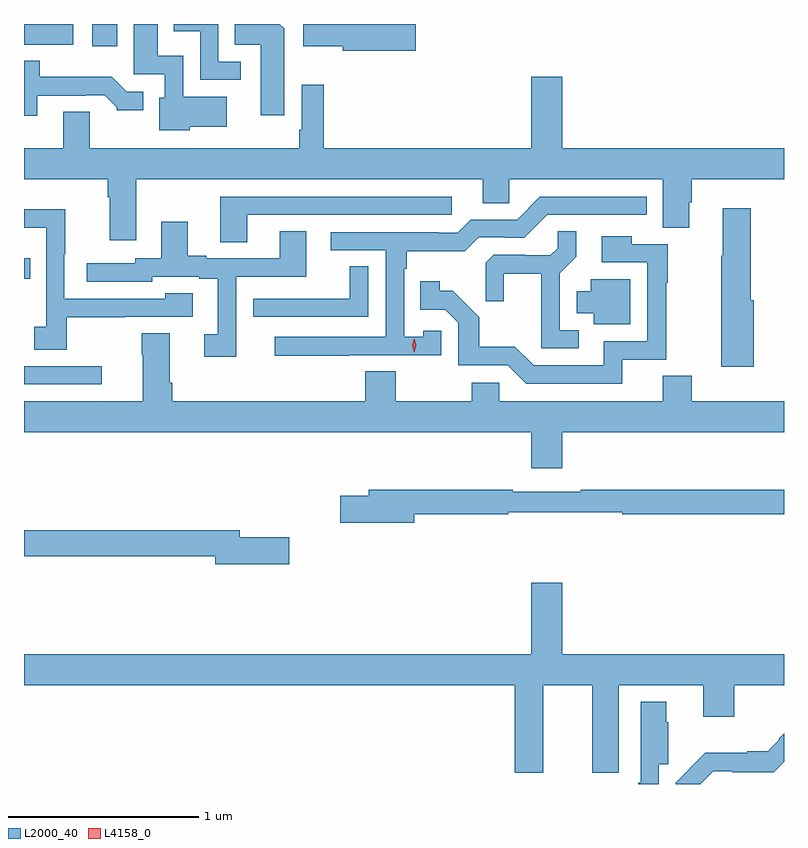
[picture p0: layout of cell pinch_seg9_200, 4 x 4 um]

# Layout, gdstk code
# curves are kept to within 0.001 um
import gdstk
lib = gdstk.Library(unit=1e-6, precision=1e-09)
def R(c, l, rs):  # rectangles x0, y0, x1, y1
    for r in rs: c.add(gdstk.rectangle(r[:2], r[2:], *l))
def P(c, l, *ps):  # polygons
    for p in ps: c.add(gdstk.Polygon(p, *l))
L2000_40 = (2000, 40)
L4158_0 = (4158, 0)

pinch_seg9_200 = lib.new_cell('pinch_seg9_200')
R(pinch_seg9_200, L2000_40, [(521.979,1245.957,522.388,1246.053), (521.979,1246.512,522.011,1246.621), (522.338,1247.736,522.469,1247.853), (521.979,1247.744,522.238,1247.853)])
P(pinch_seg9_200, L2000_40, [(523.12,1247.655),(523.002,1247.655),(523.002,1247.853),(522.767,1247.853),(522.767,1247.816),(522.906,1247.816),(522.906,1247.559),(523.12,1247.559)],
  [(524.041,1247.853),(523.448,1247.853),(523.448,1247.735),(523.656,1247.735),(523.656,1247.711),(524.041,1247.711)],
  [(523.348,1247.83),(523.325,1247.853),(523.087,1247.853),(523.087,1247.744),(523.226,1247.744),(523.226,1247.373),(523.348,1247.373)],
  [(522.852,1247.312),(523.045,1247.312),(523.045,1247.47),(522.816,1247.47),(522.816,1247.686),(522.682,1247.686),(522.682,1247.853),(522.557,1247.853),(522.557,1247.589),(522.72,1247.589),(522.72,1247.466),(522.692,1247.466),(522.692,1247.294),(522.852,1247.294)],
  [(522.049,1247.475),(522.305,1247.475),(522.305,1247.478),(522.404,1247.478),(522.468,1247.414),(522.468,1247.399),(522.607,1247.399),(522.607,1247.496),(522.519,1247.496),(522.441,1247.575),(522.062,1247.575),(522.062,1247.659),(521.979,1247.659),(521.979,1247.37),(522.049,1247.37)],
  [(522.571,1247.036),(524.393,1247.036),(524.393,1246.909),(524.532,1246.909),(524.532,1247.036),(525.341,1247.036),(525.341,1246.78),(525.481,1246.78),(525.481,1246.914),(525.494,1246.914),(525.494,1247.036),(525.979,1247.036),(525.979,1247.2),(524.812,1247.2),(524.812,1247.575),(524.648,1247.575),(524.648,1247.2),(523.556,1247.2),(523.556,1247.533),(523.44,1247.533),(523.44,1247.296),(523.428,1247.296),(523.428,1247.2),(522.325,1247.2),(522.325,1247.39),(522.185,1247.39),(522.185,1247.2),(521.979,1247.2),(521.979,1247.036),(522.419,1247.036),(522.419,1246.94),(522.431,1246.94),(522.431,1246.716),(522.571,1246.716)],
  [(523.691,1246.11),(524.175,1246.11),(524.175,1246.239),(524.079,1246.239),(524.079,1246.207),(523.98,1246.207),(523.98,1246.565),(523.993,1246.565),(523.993,1246.658),(524.3,1246.658),(524.373,1246.731),(524.512,1246.731),(524.512,1246.728),(524.613,1246.728),(524.733,1246.848),(525.256,1246.848),(525.256,1246.944),(524.694,1246.944),(524.574,1246.824),(524.331,1246.824),(524.262,1246.755),(524.162,1246.755),(524.162,1246.758),(523.593,1246.758),(523.593,1246.662),(523.884,1246.662),(523.884,1246.206),(523.299,1246.206),(523.299,1246.108),(523.691,1246.108)],
  [(523.153,1246.848),(524.23,1246.848),(524.23,1246.944),(523.013,1246.944),(523.013,1246.705),(523.153,1246.705)],
  [(525.821,1246.398),(525.803,1246.398),(525.803,1246.882),(525.656,1246.882),(525.656,1246.634),(525.649,1246.634),(525.649,1246.398),(525.65,1246.398),(525.65,1246.05),(525.821,1246.05)],
  [(522.205,1246.309),(522.509,1246.309),(522.509,1246.311),(522.868,1246.311),(522.868,1246.435),(522.723,1246.435),(522.723,1246.407),(522.192,1246.407),(522.192,1246.64),(522.195,1246.64),(522.195,1246.879),(521.979,1246.879),(521.979,1246.781),(522.096,1246.781),(522.096,1246.26),(522.033,1246.26),(522.033,1246.138),(522.205,1246.138)],
  [(523.095,1246.524),(523.465,1246.524),(523.465,1246.763),(523.325,1246.763),(523.325,1246.62),(522.937,1246.62),(522.937,1246.633),(522.841,1246.633),(522.841,1246.813),(522.701,1246.813),(522.701,1246.62),(522.564,1246.62),(522.564,1246.593),(522.309,1246.593),(522.309,1246.497),(522.654,1246.497),(522.654,1246.524),(522.902,1246.524),(522.902,1246.512),(522.998,1246.512),(522.998,1246.221),(522.927,1246.221),(522.927,1246.101),(523.095,1246.101)],
  [(524.899,1246.242),(524.799,1246.242),(524.799,1246.541),(524.885,1246.627),(524.885,1246.763),(524.787,1246.763),(524.787,1246.672),(524.75,1246.635),(524.616,1246.635),(524.616,1246.638),(524.451,1246.638),(524.41,1246.597),(524.41,1246.395),(524.504,1246.395),(524.504,1246.538),(524.702,1246.538),(524.702,1246.146),(524.899,1246.146)],
  [(525.128,1246.086),(525.359,1246.086),(525.359,1246.492),(525.367,1246.492),(525.367,1246.695),(525.177,1246.695),(525.177,1246.735),(525.021,1246.735),(525.021,1246.599),(525.258,1246.599),(525.258,1246.182),(525.029,1246.182),(525.029,1246.056),(524.661,1246.056),(524.563,1246.155),(524.374,1246.155),(524.374,1246.31),(524.236,1246.448),(524.166,1246.448),(524.166,1246.498),(524.065,1246.498),(524.065,1246.35),(524.196,1246.35),(524.265,1246.281),(524.265,1246.056),(524.526,1246.056),(524.622,1245.96),(525.128,1245.96)],
  [(523.791,1246.577),(523.693,1246.577),(523.693,1246.407),(523.297,1246.407),(523.297,1246.406),(523.185,1246.406),(523.185,1246.311),(523.791,1246.311)],
  [(525.169,1246.51),(524.963,1246.51),(524.963,1246.447),(524.888,1246.447),(524.888,1246.331),(524.978,1246.331),(524.978,1246.274),(525.169,1246.274)],
  [(524.812,1245.704),(525.979,1245.704),(525.979,1245.868),(525.494,1245.868),(525.494,1246.001),(525.341,1246.001),(525.341,1245.868),(524.481,1245.868),(524.481,1245.966),(524.335,1245.966),(524.335,1245.868),(523.935,1245.868),(523.935,1246.025),(523.775,1246.025),(523.775,1245.868),(522.758,1245.868),(522.758,1245.964),(522.745,1245.964),(522.745,1246.225),(522.598,1246.225),(522.598,1246.112),(522.605,1246.112),(522.605,1245.868),(521.979,1245.868),(521.979,1245.704),(524.648,1245.704),(524.648,1245.516),(524.812,1245.516)],
  [(524.032,1245.274),(524.528,1245.274),(524.528,1245.282),(525.128,1245.282),(525.128,1245.274),(525.979,1245.274),(525.979,1245.403),(524.908,1245.403),(524.908,1245.39),(524.552,1245.39),(524.552,1245.403),(523.793,1245.403),(523.793,1245.369),(523.644,1245.369),(523.644,1245.227),(524.032,1245.227)],
  [(523.375,1245.152),(523.114,1245.152),(523.114,1245.188),(521.979,1245.188),(521.979,1245.052),(522.986,1245.052),(522.986,1245.01),(523.375,1245.01)],
  [(524.713,1244.372),(524.969,1244.372),(524.969,1243.911),(525.109,1243.911),(525.109,1244.372),(525.554,1244.372),(525.554,1244.208),(525.718,1244.208),(525.718,1244.372),(525.979,1244.372),(525.979,1244.536),(524.812,1244.536),(524.812,1244.911),(524.648,1244.911),(524.648,1244.536),(521.979,1244.536),(521.979,1244.372),(524.561,1244.372),(524.561,1243.911),(524.713,1243.911)],
  [(525.321,1243.956),(525.371,1243.956),(525.371,1244.177),(525.358,1244.177),(525.358,1244.287),(525.224,1244.287),(525.224,1243.859),(525.213,1243.859),(525.213,1243.853),(525.321,1243.853)],
  [(525.606,1243.92),(525.706,1243.92),(525.706,1243.916),(525.925,1243.916),(525.979,1243.969),(525.979,1244.119),(525.951,1244.091),(525.955,1244.087),(525.893,1244.025),(525.785,1244.025),(525.785,1244.017),(525.565,1244.017),(525.41,1243.86),(525.41,1243.853),(525.539,1243.853)])
P(pinch_seg9_200, L4158_0, [(524.032,1246.125),(524.032,1246.125),(524.023,1246.161),(524.033,1246.197),(524.033,1246.197),(524.034,1246.197),(524.043,1246.161),(524.033,1246.125)])

lib.write_gds('pinch_seg9_200.gds')
